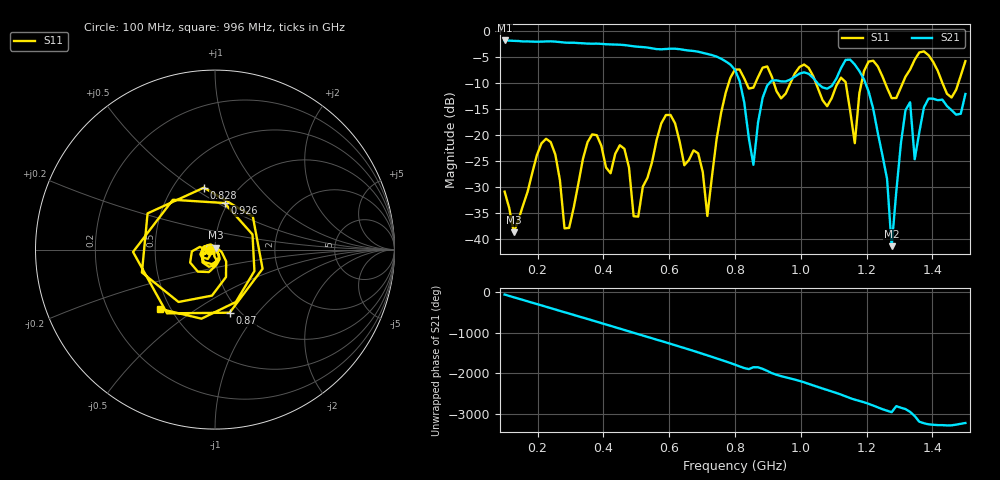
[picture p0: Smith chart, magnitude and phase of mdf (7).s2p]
! NanoVNA-App
! Date: 2025-09-25 15:38:29
! Start: 100MHz Stop: 1,5GHz Points: 101
! S-Parameter data: F S11 S21 S12 S22
# Hz S RI R 50
!  Frequency  S11_Real  S11_Imag  S21_Real  S21_Imag  S12_Real  S12_Imag  S22_Real  S22_Imag
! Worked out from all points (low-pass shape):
!   101 points, 100 MHz to 1.5 GHz, reference 50 ohm
!   highest |S21| = -1.81 dB at 100 MHz (marker M1); lowest = -41.4 dB at 1.276 GHz (marker M2)
!   |S21| within 3 dB of the highest: start of sweep to 738.9 MHz
!   lowest |S11| = -38.7 dB at 128 MHz (marker M3), VSWR 1.02, Z = 50.4 + j1.1 ohm
!   |S11| at or under -10 dB: start of sweep to 780.9 MHz; 918.2 MHz to 968.4 MHz (50.25 MHz wide, 5.33 % of centre); 1.046 GHz to 1.113 GHz (66.7 MHz wide, 6.18 % of centre) (the widest 3 of 7)
!   S12 and S22 are empty: the file has one direction only
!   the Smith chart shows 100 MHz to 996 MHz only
!   S11 on the Smith chart (normalised r, x): 100 MHz: 0.94, -0.01; 828 MHz: 0.70, +0.55; 870 MHz: 0.90, -0.73; 926 MHz: 0.96, +0.54; 996 MHz: 0.44, -0.36
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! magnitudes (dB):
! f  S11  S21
! 100 MHz  -30.9  -1.8
! 128 MHz  -38.7  -1.9
! 212 MHz  -21.6  -2.0
! 282 MHz  -38.0  -2.2
! 338 MHz  -24.6  -2.4
! 464 MHz  -22.7  -2.7
! 506 MHz  -35.7  -3.0
! 576 MHz  -17.8  -3.5
! 716 MHz  -35.6  -4.4
! 800 MHz  -7.4  -7.5
! 828 MHz  -9.1  -13.7
! 856 MHz  -10.9  -25.7
! 870 MHz  -8.9  -17.6
! 926 MHz  -11.5  -9.5
! 996 MHz  -6.9  -8.2
! 1.038 GHz  -8.7  -9.0
! 1.164 GHz  -21.6  -6.4
! 1.192 GHz  -7.7  -9.3
! 1.276 GHz  -12.9  -41.4
! 1.318 GHz  -8.8  -15.2
! 1.346 GHz  -5.5  -24.7
! 1.5 GHz  -5.8  -12.1
